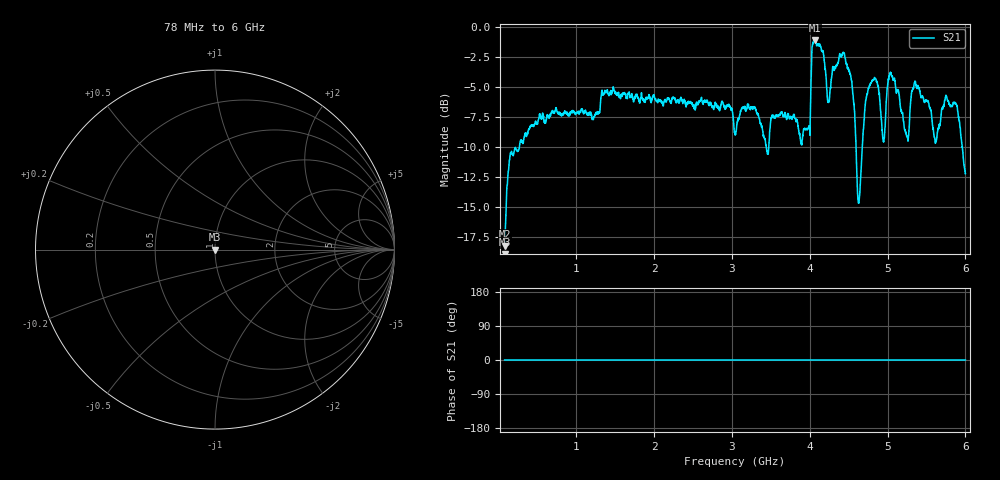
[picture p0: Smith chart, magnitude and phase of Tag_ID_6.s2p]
!	Parâmetros S - Tag_ID_6
#	Hz	S	MA	R	50
!	Freq	magS11	angS11	magS21	angS21	magS12	angS12	magS22	angS22
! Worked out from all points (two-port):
!   5923 points, 78 MHz to 6 GHz, reference 50 ohm
!   highest |S21| = -1.11 dB at 4.068 GHz (marker M1); lowest = -18.2 dB at 78 MHz (marker M2)
!   |S21| within 3 dB of the highest: 4.018 GHz to 4.209 GHz (191.3 MHz wide, 4.65 % of centre); 4.283 GHz to 4.528 GHz (244.7 MHz wide, 5.55 % of centre) (the widest 2 of 4)
!   lowest |S11| = - dB at 78 MHz (marker M3), VSWR 1.00, Z = 50 + j0 ohm
!   |S11| at or under -10 dB: start of sweep to end of sweep
!   S12 and S22 are empty: the file has one direction only
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7.8e7  0 0.0  0.1225 0.0  0 0.0  0 0.0
1.73e8  0 0.0  0.2982 0.0  0 0.0  0 0.0
1.065e9  0 0.0  0.4553 0.0  0 0.0  0 0.0
2.052e9  0 0.0  0.5021 0.0  0 0.0  0 0.0
3.039e9  0 0.0  0.357 0.0  0 0.0  0 0.0
3.893e9  0 0.0  0.3264 0.0  0 0.0  0 0.0
3.982e9  0 0.0  0.3819 0.0  0 0.0  0 0.0
4.026e9  0 0.0  0.787 0.0  0 0.0  0 0.0
4.068e9  0 0.0  0.8801 0.0  0 0.0  0 0.0
4.241e9  0 0.0  0.4862 0.0  0 0.0  0 0.0
4.407e9  0 0.0  0.7521 0.0  0 0.0  0 0.0
4.514e9  0 0.0  0.6447 0.0  0 0.0  0 0.0
4.631e9  0 0.0  0.1857 0.0  0 0.0  0 0.0
4.75e9  0 0.0  0.5524 0.0  0 0.0  0 0.0
4.855e9  0 0.0  0.5936 0.0  0 0.0  0 0.0
4.946e9  0 0.0  0.335 0.0  0 0.0  0 0.0
5.013e9  0 0.0  0.6029 0.0  0 0.0  0 0.0
5.246e9  0 0.0  0.3496 0.0  0 0.0  0 0.0
5.355e9  0 0.0  0.5924 0.0  0 0.0  0 0.0
5.613e9  0 0.0  0.3316 0.0  0 0.0  0 0.0
5.868e9  0 0.0  0.4785 0.0  0 0.0  0 0.0
6e9  0 0.0  0.2453 0.0  0 0.0  0 0.0
